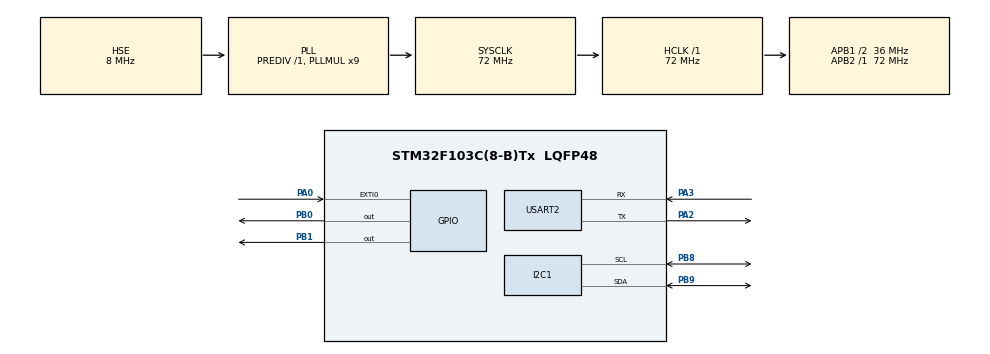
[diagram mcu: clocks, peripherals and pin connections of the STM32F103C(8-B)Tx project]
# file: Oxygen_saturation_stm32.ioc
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Dma.Request0=USART2_TX
Dma.USART2_TX.0.Direction=DMA_MEMORY_TO_PERIPH
Dma.USART2_TX.0.Instance=DMA1_Channel7
Dma.USART2_TX.0.MemDataAlignment=DMA_MDATAALIGN_BYTE
Dma.USART2_TX.0.MemInc=DMA_MINC_ENABLE
Dma.USART2_TX.0.Mode=DMA_NORMAL
Dma.USART2_TX.0.PeriphDataAlignment=DMA_PDATAALIGN_BYTE
Dma.USART2_TX.0.PeriphInc=DMA_PINC_DISABLE
Dma.USART2_TX.0.Priority=DMA_PRIORITY_HIGH
Mcu.Family=STM32F1
Mcu.Name=STM32F103C(8-B)Tx
Mcu.Package=LQFP48
NVIC.DMA1_Channel7_IRQn=true\:4\:0\:true\:false\:true\:false\:true\:true
NVIC.EXTI0_IRQn=true\:2\:0\:true\:false\:true\:true\:true\:true
NVIC.PriorityGroup=NVIC_PRIORITYGROUP_4
NVIC.TIM2_IRQn=true\:0\:0\:false\:false\:true\:true\:true\:true
NVIC.USART2_IRQn=true\:4\:0\:true\:false\:true\:false\:true\:true
PA0-WKUP.GPIO_ModeDefaultEXTI=GPIO_MODE_IT_FALLING
PA0-WKUP.GPIO_PuPd=GPIO_PULLUP
PA0-WKUP.Signal=GPXTI0
PA13.Mode=Serial_Wire
PA13.Signal=SYS_JTMS-SWDIO
PA14.Mode=Serial_Wire
PA14.Signal=SYS_JTCK-SWCLK
PA2.Mode=Asynchronous
PA2.Signal=USART2_TX
PA3.Mode=Asynchronous
PA3.Signal=USART2_RX
PB0.Signal=GPIO_Output
PB1.Signal=GPIO_Output
PB8.Mode=I2C
PB8.Signal=I2C1_SCL
PB9.Mode=I2C
PB9.Signal=I2C1_SDA
PD0-OSC_IN.Mode=HSE-External-Oscillator
PD0-OSC_IN.Signal=RCC_OSC_IN
PD1-OSC_OUT.Mode=HSE-External-Oscillator
PD1-OSC_OUT.Signal=RCC_OSC_OUT
ProjectManager.HeapSize=0x200
ProjectManager.StackSize=0x400
ProjectManager.TargetToolchain=MDK-ARM V5.32
RCC.AHBFreq_Value=72000000
RCC.APB1CLKDivider=RCC_HCLK_DIV2
RCC.APB1Freq_Value=36000000
RCC.APB1TimFreq_Value=72000000
RCC.APB2Freq_Value=72000000
RCC.APB2TimFreq_Value=72000000
RCC.HCLKFreq_Value=72000000
RCC.PLLMUL=RCC_PLL_MUL9
RCC.PLLSourceVirtual=RCC_PLLSOURCE_HSE
RCC.SYSCLKFreq_VALUE=72000000
RCC.SYSCLKSource=RCC_SYSCLKSOURCE_PLLCLK
RCC.USBFreq_Value=72000000
TIM2.Period=99
TIM2.Prescaler=7199
USART2.VirtualMode=VM_ASYNC
VP_TIM2_VS_ClockSourceINT.Mode=Internal
board=custom

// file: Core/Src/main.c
/* USER CODE BEGIN Header */
/**
 ******************************************************************************
 * @file           : main.c
 * @brief          : Main program body
 ******************************************************************************
 * @attention
 *
 * Copyright (c) 2026 STMicroelectronics.
 * All rights reserved.
 *
 * This software is licensed under terms that can be found in the LICENSE file
 * in the root directory of this software component.
 * If no LICENSE file comes with this software, it is provided AS-IS.
 *
 ******************************************************************************
 */
/* USER CODE END Header */
#include "main.h"
#include "dma.h"
#include "i2c.h"
#include "tim.h"
#include "usart.h"
#include "gpio.h"

/* USER CODE BEGIN Includes */
#include "ADS1115.h"
#include "Algorithm.h"
/* USER CODE END Includes */
struct
{
  uint32_t Head;
  float Value[6];
  uint32_t Tail;
} DebugData = {0}; // uart data package
/* USER CODE BEGIN PD */
#define BUFFER_SIZE 128
/* USER CODE END PD */

/* USER CODE BEGIN PV */
PPG_Filter_State ir_state = {0};  // 红外光滤波状态
PPG_Filter_State red_state = {0}; // 红光滤波状态
uint16_t red_buffer[BUFFER_SIZE];
uint16_t ir_buffer[BUFFER_SIZE];
uint16_t raw_adc;
volatile uint8_t timer_10ms_flag = 0;
volatile uint16_t red_head = 0;
volatile uint16_t red_tail = 0;
volatile uint16_t ir_head = 0;
volatile uint16_t ir_tail = 0;
volatile uint8_t light_state = 0;
uint16_t latest_ir_index = 0;
uint16_t latest_red_index = 0;
int32_t current_bpm = 0;
float current_spo2 = 0.f;
float current_r_value = 0.f;
/* USER CODE END PV */

void SystemClock_Config(void);

int main(void)
{

  /* MCU Configuration--------------------------------------------------------*/

  /* Reset of all peripherals, Initializes the Flash interface and the Systick. */
  HAL_Init();

  /* Configure the system clock */
  SystemClock_Config();

  /* Initialize all configured peripherals */
  MX_GPIO_Init();
  MX_DMA_Init();
  MX_I2C1_Init();
  MX_USART2_UART_Init();
  MX_TIM2_Init();
  /* USER CODE BEGIN 2 */
  ADS1115_Init();
  // ADS1115_UserConfig_SingleConver(&ADS1115_ADDR_GND, 0x90);//单次转换
  // ADS1115_UserConfig_ContinuConver(&ADS1115_ADDR_GND, ADS1115_ADDRESS_GND);//连续转换
  DebugData.Head = 0x11AA22BB;
  DebugData.Tail = 0x33CC44DD;
  HAL_TIM_Base_Start_IT(&htim2);
  light_state = 0;
  HAL_GPIO_WritePin(GPIOB, GPIO_PIN_1, GPIO_PIN_SET);   // 亮 940nm 红外 (PB1)
  HAL_GPIO_WritePin(GPIOB, GPIO_PIN_0, GPIO_PIN_RESET); // 灭 660nm 红光 (PB0)

  // 启动第一次单次转换！从此进入永动机循环
  ADS1115_UserConfig_SingleConver_Interrupt(&ADS1115_ADDR_GND, ADS1115_ADDRESS_GND);
  /* USER CODE END 2 */

  /* Infinite loop */
  while (1)
  {

    /* USER CODE BEGIN 3 */

    if (timer_10ms_flag == 1)
    {
      timer_10ms_flag = 0;

      // ==========================================
      // 1. 获取并处理原始数据 (从 FIFO 中提取并平均)
      // ==========================================
      uint32_t ir_sum = 0, red_sum = 0;
      uint16_t ir_count = 0, red_count = 0;

      while (ir_tail != ir_head)
      {
        ir_sum += ir_buffer[ir_tail];
        ir_tail = (ir_tail + 1) % BUFFER_SIZE;
        ir_count++;
      }
      while (red_tail != red_head)
      {
        red_sum += red_buffer[red_tail];
        red_tail = (red_tail + 1) % BUFFER_SIZE;
        red_count++;
      }

      // ==========================================
      // 2. 喂入带通滤波器 (AC/DC 分离)
      // ==========================================
      if (ir_count > 0 || red_count > 0)
      {
        float ir_raw = (ir_count > 0) ? ((float)ir_sum / ir_count) : ir_state.dc_baseline;
        float red_raw = (red_count > 0) ? ((float)red_sum / red_count) : red_state.dc_baseline;

        // 核心：调用刚才写的新滤波器
        IIR_Bandpass_Filter(ir_raw, &ir_state);
        IIR_Bandpass_Filter(red_raw, &red_state);

        //==========================================
        // 3. 寻峰、计算血氧及标记针逻辑
        //==========================================
        uint8_t is_peak = 0, is_valley = 0;

        // 调用升级后的函数：传入红外和红光的 AC 和 DC 4个分量
        Track_Pulse_Wave_Dual(ir_state.ac_filtered, red_state.ac_filtered, ir_state.dc_baseline, red_state.dc_baseline, &is_peak, &is_valley, &current_bpm, &current_spo2, &current_r_value);

        //==========================================
        // 4. 串口数据打包发送 (VOFA+ 等上位机看图)
        //==========================================
        if (HAL_UART_GetState(&huart2) == HAL_UART_STATE_READY)
        {
          // DebugData.Value[0] = ir_state.ac_filtered;  // 通道1：纯净的红外交流波形
          // DebugData.Value[1] = red_state.ac_filtered; // 通道2：纯净的红光交流波形
          DebugData.Value[0] = ir_raw;; // 通道1：660LED原始数据
          DebugData.Value[1] = red_raw;// 通道2：660VCSEL原始数据

          latest_ir_index = (ir_head == 0) ? (BUFFER_SIZE - 1) : (ir_head - 1);
          latest_red_index = (red_head == 0) ? (BUFFER_SIZE - 1) : (red_head - 1);
          // --- 双向标记针逻辑 ---
          if (is_peak == 1)
          {
            DebugData.Value[2] = 2500.0f; // 波峰向上打针
          }
          else if (is_valley == 1)
          {
            DebugData.Value[2] = -2500.0f; // 波谷向下打针
          }
          else
          {
            DebugData.Value[2] = 0.0f; // 平时跟随基准线
          }

          DebugData.Value[3] = (float)current_bpm; // 通道4：心率
          DebugData.Value[4] = current_spo2;       // 通道5：血氧
          // DebugData.Value[3] = ir_raw; // 通道4：红外原始数据
          // DebugData.Value[4] = red_raw;// 通道5：红光原始数据
          // DebugData.Value[3] = (float)ir_buffer[latest_ir_index];; // 通道4：红外adc原始数据
          // DebugData.Value[4] = (float)red_buffer[latest_red_index];// 通道5：红光adc原始数据
          DebugData.Value[5] = current_r_value;
          // DebugData.Value[5] = ir_state.dc_baseline;// 通道6：红外直流基线 (DC)
          HAL_UART_Transmit_DMA(&huart2, (uint8_t *)&DebugData, sizeof(DebugData));
        }
      }
    }
    /* USER CODE END 3 */
  }
}

void SystemClock_Config(void)
{
  RCC_OscInitTypeDef RCC_OscInitStruct = {0};
  RCC_ClkInitTypeDef RCC_ClkInitStruct = {0};

  /** Initializes the RCC Oscillators according to the specified parameters
   * in the RCC_OscInitTypeDef structure.
   */
  RCC_OscInitStruct.OscillatorType = RCC_OSCILLATORTYPE_HSE;
  RCC_OscInitStruct.HSEState = RCC_HSE_ON;
  RCC_OscInitStruct.HSEPredivValue = RCC_HSE_PREDIV_DIV1;
  RCC_OscInitStruct.HSIState = RCC_HSI_ON;
  RCC_OscInitStruct.PLL.PLLState = RCC_PLL_ON;
  RCC_OscInitStruct.PLL.PLLSource = RCC_PLLSOURCE_HSE;
  RCC_OscInitStruct.PLL.PLLMUL = RCC_PLL_MUL9;
  if (HAL_RCC_OscConfig(&RCC_OscInitStruct) != HAL_OK)
  {
    Error_Handler();
  }

  /** Initializes the CPU, AHB and APB buses clocks
   */
  RCC_ClkInitStruct.ClockType = RCC_CLOCKTYPE_HCLK | RCC_CLOCKTYPE_SYSCLK | RCC_CLOCKTYPE_PCLK1 | RCC_CLOCKTYPE_PCLK2;
  RCC_ClkInitStruct.SYSCLKSource = RCC_SYSCLKSOURCE_PLLCLK;
  RCC_ClkInitStruct.AHBCLKDivider = RCC_SYSCLK_DIV1;
  RCC_ClkInitStruct.APB1CLKDivider = RCC_HCLK_DIV2;
  RCC_ClkInitStruct.APB2CLKDivider = RCC_HCLK_DIV1;

  if (HAL_RCC_ClockConfig(&RCC_ClkInitStruct, FLASH_LATENCY_2) != HAL_OK)
  {
    Error_Handler();
  }
}

/* USER CODE BEGIN 4 */
void HAL_TIM_PeriodElapsedCallback(TIM_HandleTypeDef *htim)
{
  if (htim->Instance == htim2.Instance)
  {
    timer_10ms_flag = 1;
  }
}
void HAL_GPIO_EXTI_Callback(uint16_t GPIO_Pin)
{
  if (GPIO_Pin == GPIO_PIN_0)
  {
    // 1. 马上读取刚刚转换好的数据
    ADS1115_ReadRawData(&ADS1115_ADDR_GND);
    int16_t raw_adc = (int16_t)ADS1115_ADDR_GND.ADS1115_RawData[0];

    // 2. 乒乓状态机：根据当前亮的是什么灯，将数据塞入不同的仓库
    if (light_state == 0) // === 当前亮的是 940nm 红外光 ===
    {
      // 存入红外 FIFO
      ir_buffer[ir_head] = raw_adc;
      ir_head = (ir_head + 1) % BUFFER_SIZE;

      // 状态切换动作：灭红外灯(PB1)，亮红灯(PB0)
      HAL_GPIO_WritePin(GPIOB, GPIO_PIN_1, GPIO_PIN_RESET);
      HAL_GPIO_WritePin(GPIOB, GPIO_PIN_0, GPIO_PIN_SET);
      light_state = 1;
    }
    else // === 当前亮的是 660nm 红光 ===
    {
      // 存入红光 FIFO
      red_buffer[red_head] = raw_adc;
      red_head = (red_head + 1) % BUFFER_SIZE;

      // 状态切换动作：灭红灯(PB0)，亮红外灯(PB1)
      HAL_GPIO_WritePin(GPIOB, GPIO_PIN_0, GPIO_PIN_RESET);
      HAL_GPIO_WritePin(GPIOB, GPIO_PIN_1, GPIO_PIN_SET);
      light_state = 0;
    }

    // 3. 再次触发！立刻命令 ADS1115 开始下一次转换 (测量刚刚切换的灯光)
    ADS1115_Trigger_Next_Conversion(&ADS1115_ADDR_GND);
  }
}
/* USER CODE END 4 */

void Error_Handler(void)
{
  __disable_irq();
  while (1)
  {
  }
}
